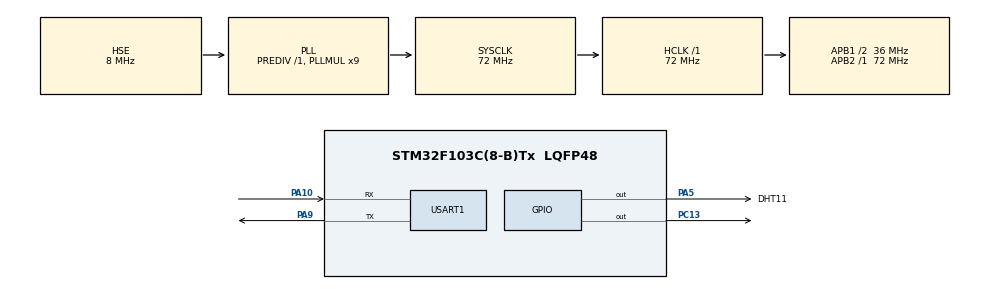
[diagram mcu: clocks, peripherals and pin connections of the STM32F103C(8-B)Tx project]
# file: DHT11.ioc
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Dma.Request0=USART1_RX
Dma.USART1_RX.0.Direction=DMA_PERIPH_TO_MEMORY
Dma.USART1_RX.0.Instance=DMA1_Channel5
Dma.USART1_RX.0.MemDataAlignment=DMA_MDATAALIGN_BYTE
Dma.USART1_RX.0.MemInc=DMA_MINC_ENABLE
Dma.USART1_RX.0.Mode=DMA_NORMAL
Dma.USART1_RX.0.PeriphDataAlignment=DMA_PDATAALIGN_BYTE
Dma.USART1_RX.0.PeriphInc=DMA_PINC_DISABLE
Dma.USART1_RX.0.Priority=DMA_PRIORITY_HIGH
Mcu.Family=STM32F1
Mcu.Name=STM32F103C(8-B)Tx
Mcu.Package=LQFP48
NVIC.DMA1_Channel5_IRQn=true\:3\:0\:true\:false\:true\:false\:true\:true
NVIC.PriorityGroup=NVIC_PRIORITYGROUP_4
NVIC.USART1_IRQn=true\:3\:0\:true\:false\:true\:true\:true\:true
PA10.Mode=Asynchronous
PA10.Signal=USART1_RX
PA13.Mode=Serial_Wire
PA13.Signal=SYS_JTMS-SWDIO
PA14.Mode=Serial_Wire
PA14.Signal=SYS_JTCK-SWCLK
PA5.GPIO_Label=DHT11
PA5.GPIO_PuPd=GPIO_PULLUP
PA5.Signal=GPIO_Output
PA9.Mode=Asynchronous
PA9.Signal=USART1_TX
PC13-TAMPER-RTC.GPIO_ModeDefaultOutputPP=GPIO_MODE_OUTPUT_PP
PC13-TAMPER-RTC.GPIO_PuPd=GPIO_PULLUP
PC13-TAMPER-RTC.GPIO_Speed=GPIO_SPEED_FREQ_HIGH
PC13-TAMPER-RTC.PinState=GPIO_PIN_SET
PC13-TAMPER-RTC.Signal=GPIO_Output
PC14-OSC32_IN.Mode=LSE-External-Oscillator
PC14-OSC32_IN.Signal=RCC_OSC32_IN
PC15-OSC32_OUT.Mode=LSE-External-Oscillator
PC15-OSC32_OUT.Signal=RCC_OSC32_OUT
PD0-OSC_IN.Mode=HSE-External-Oscillator
PD0-OSC_IN.Signal=RCC_OSC_IN
PD1-OSC_OUT.Mode=HSE-External-Oscillator
PD1-OSC_OUT.Signal=RCC_OSC_OUT
ProjectManager.HeapSize=0x200
ProjectManager.StackSize=0x400
ProjectManager.TargetToolchain=MDK-ARM V5
RCC.AHBFreq_Value=72000000
RCC.APB1CLKDivider=RCC_HCLK_DIV2
RCC.APB1Freq_Value=36000000
RCC.APB1TimFreq_Value=72000000
RCC.APB2Freq_Value=72000000
RCC.APB2TimFreq_Value=72000000
RCC.HCLKFreq_Value=72000000
RCC.PLLMUL=RCC_PLL_MUL9
RCC.PLLSourceVirtual=RCC_PLLSOURCE_HSE
RCC.SYSCLKFreq_VALUE=72000000
RCC.SYSCLKSource=RCC_SYSCLKSOURCE_PLLCLK
RCC.USBFreq_Value=72000000
TIM1.AutoReloadPreload=TIM_AUTORELOAD_PRELOAD_DISABLE
TIM1.Prescaler=71
USART1.VirtualMode=VM_ASYNC
VP_TIM1_VS_ClockSourceINT.Mode=Internal
board=custom

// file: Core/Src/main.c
/* USER CODE BEGIN Header */
/**
  ******************************************************************************
  * @file           : main.c
  * @brief          : Main program body
  ******************************************************************************
  * @attention
  *
  * Copyright (c) 2024 STMicroelectronics.
  * All rights reserved.
  *
  * This software is licensed under terms that can be found in the LICENSE file
  * in the root directory of this software component.
  * If no LICENSE file comes with this software, it is provided AS-IS.
  *
  ******************************************************************************
  */
/* USER CODE END Header */
#include "main.h"
#include "dma.h"
#include "tim.h"
#include "usart.h"
#include "gpio.h"

/* USER CODE BEGIN Includes */
#include "dht11.h"
#include "string.h"
#include "stdio.h"
/* USER CODE END Includes */

/* USER CODE BEGIN PTD */
#ifdef __GNUC__
  #define PUTCHAR_PROTOTYPE int __io_putchar(int ch)
#else
  #define PUTCHAR_PROTOTYPE int fputc(int ch, FILE *f)
#endif

PUTCHAR_PROTOTYPE
{
  HAL_UART_Transmit(&huart1,(uint8_t *)&ch,1,0xFFFF);//阻塞方式打印,串口1
  return ch;
}

/* USER CODE END PTD */

/* USER CODE BEGIN PV */
#define APP_RX_BUF_SIZE 64
//uint8_t AppData[5]={0};
volatile uint8_t dht11_print_request = 0;    // 0：no request；1：receive print request
volatile uint8_t dht11_read_request = 0;    // 0：no request；1：receive print request
uint8_t AppData[APP_RX_BUF_SIZE];              // UART 接收缓冲区
/* USER CODE END PV */

void SystemClock_Config(void);

/* USER CODE BEGIN 0 */
float Temp = 0.0;
float Humi = 0.0;
/* USER CODE END 0 */

int main(void)
{

  /* MCU Configuration--------------------------------------------------------*/

  /* Reset of all peripherals, Initializes the Flash interface and the Systick. */
  HAL_Init();

  /* Configure the system clock */
  SystemClock_Config();

  /* Initialize all configured peripherals */
  MX_GPIO_Init();
  MX_DMA_Init();
  MX_TIM1_Init();
  MX_USART1_UART_Init();
  /* USER CODE BEGIN 2 */

	HAL_UARTEx_ReceiveToIdle_DMA(&huart1, AppData, APP_RX_BUF_SIZE);
  /* USER CODE END 2 */

  /* Infinite loop */
  while (1)
  {

    /* USER CODE BEGIN 3 */
		if(dht11_read_request)
		{
			DHT11_READ_DATA(&Temp,&Humi);
			dht11_read_request = 0;
		}
		if(dht11_print_request)
    {

       printf("%02d%02d", (int)Temp, (int)Humi);
       dht11_print_request = 0;

     }
  }
  /* USER CODE END 3 */
}

void SystemClock_Config(void)
{
  RCC_OscInitTypeDef RCC_OscInitStruct = {0};
  RCC_ClkInitTypeDef RCC_ClkInitStruct = {0};

  /** Initializes the RCC Oscillators according to the specified parameters
  * in the RCC_OscInitTypeDef structure.
  */
  RCC_OscInitStruct.OscillatorType = RCC_OSCILLATORTYPE_HSE;
  RCC_OscInitStruct.HSEState = RCC_HSE_ON;
  RCC_OscInitStruct.HSEPredivValue = RCC_HSE_PREDIV_DIV1;
  RCC_OscInitStruct.HSIState = RCC_HSI_ON;
  RCC_OscInitStruct.PLL.PLLState = RCC_PLL_ON;
  RCC_OscInitStruct.PLL.PLLSource = RCC_PLLSOURCE_HSE;
  RCC_OscInitStruct.PLL.PLLMUL = RCC_PLL_MUL9;
  if (HAL_RCC_OscConfig(&RCC_OscInitStruct) != HAL_OK)
  {
    Error_Handler();
  }

  /** Initializes the CPU, AHB and APB buses clocks
  */
  RCC_ClkInitStruct.ClockType = RCC_CLOCKTYPE_HCLK|RCC_CLOCKTYPE_SYSCLK
                              |RCC_CLOCKTYPE_PCLK1|RCC_CLOCKTYPE_PCLK2;
  RCC_ClkInitStruct.SYSCLKSource = RCC_SYSCLKSOURCE_PLLCLK;
  RCC_ClkInitStruct.AHBCLKDivider = RCC_SYSCLK_DIV1;
  RCC_ClkInitStruct.APB1CLKDivider = RCC_HCLK_DIV2;
  RCC_ClkInitStruct.APB2CLKDivider = RCC_HCLK_DIV1;

  if (HAL_RCC_ClockConfig(&RCC_ClkInitStruct, FLASH_LATENCY_2) != HAL_OK)
  {
    Error_Handler();
  }
}

/* USER CODE BEGIN 4 */

/*
 * 利用空闲检测中断时的回调函数来处理数据接收。
 * 注意：HAL_UARTEx_RxEventCallback 是在接收空闲后被调用，参数 Size 为本次接收的数据长度
 */
void HAL_UARTEx_RxEventCallback(UART_HandleTypeDef *huart, uint16_t Size)
{
    if (huart->Instance == USART1)
    {
        // 确保接收到的数据以 '\0' 结尾
        if (Size < APP_RX_BUF_SIZE)
        {
            AppData[Size] = '\0';
        }
        else
        {
            AppData[APP_RX_BUF_SIZE - 1] = '\0';
        }

        //printf("Received: %s\r\n", AppData);

        // 检查是否包含 "dht11" 字符串
        if (strstr((char *)AppData, "dht11") != NULL)
        {
            dht11_print_request = 1;
        }
         if (strstr((char *)AppData, "data") != NULL)
        {
            dht11_read_request = 1;
        }
        HAL_UARTEx_ReceiveToIdle_DMA(huart, AppData, APP_RX_BUF_SIZE);
    }
}

/* USER CODE END 4 */

void Error_Handler(void)
{
  __disable_irq();
  while (1)
  {
  }
}
